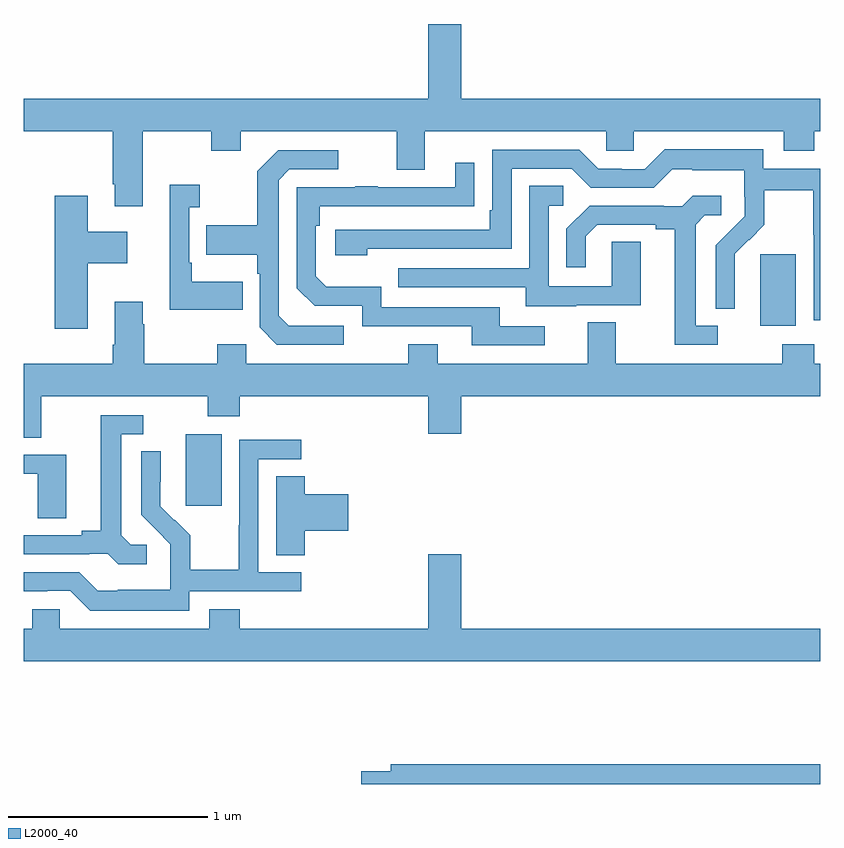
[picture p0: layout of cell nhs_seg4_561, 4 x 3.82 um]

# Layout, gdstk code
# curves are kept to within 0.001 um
import gdstk
lib = gdstk.Library(unit=1e-6, precision=1e-09)
def R(c, l, rs):  # rectangles x0, y0, x1, y1
    for r in rs: c.add(gdstk.rectangle(r[:2], r[2:], *l))
def P(c, l, *ps):  # polygons
    for p in ps: c.add(gdstk.Polygon(p, *l))
L2000_40 = (2000, 40)

nhs_seg4_561 = lib.new_cell('nhs_seg4_561')
R(nhs_seg4_561, L2000_40, [(139.814,768.297,139.993,768.658), (142.7,769.202,142.879,769.563)])
P(nhs_seg4_561, L2000_40, [(139.597,770.18),(139.942,770.18),(139.942,770.081),(140.089,770.081),(140.089,770.18),(140.873,770.18),(140.873,769.986),(141.013,769.986),(141.013,770.18),(141.927,770.18),(141.927,770.082),(142.065,770.082),(142.065,770.18),(142.817,770.18),(142.817,770.081),(142.97,770.081),(142.97,770.18),(143,770.18),(143,770.344),(141.196,770.344),(141.196,770.719),(141.032,770.719),(141.032,770.344),(139,770.344),(139,770.18),(139.445,770.18),(139.445,769.915),(139.457,769.915),(139.457,769.803),(139.597,769.803)],
  [(143,769.992),(142.716,769.992),(142.716,770.089),(142.219,770.089),(142.119,769.989),(142.004,769.989),(142.004,769.992),(141.885,769.992),(141.789,770.088),(141.354,770.088),(141.354,769.783),(141.341,769.783),(141.341,769.686),(140.565,769.686),(140.565,769.556),(140.726,769.556),(140.726,769.59),(141.45,769.59),(141.45,769.992),(141.753,769.992),(141.849,769.896),(142.164,769.896),(142.257,769.989),(142.357,769.989),(142.357,769.985),(142.62,769.985),(142.62,769.851),(142.622,769.851),(142.622,769.754),(142.476,769.606),(142.476,769.288),(142.572,769.288),(142.571,769.565),(142.641,769.635),(142.644,769.632),(142.721,769.709),(142.721,769.884),(142.966,769.884),(142.966,769.66),(142.968,769.66),(142.968,769.231),(143,769.231)],
  [(140.608,769.203),(140.331,769.203),(140.28,769.254),(140.28,769.935),(140.334,769.989),(140.578,769.989),(140.578,770.085),(140.277,770.085),(140.172,769.979),(140.172,769.707),(139.915,769.707),(139.915,769.559),(140.172,769.559),(140.172,769.463),(140.184,769.463),(140.184,769.194),(140.271,769.107),(140.608,769.107)],
  [(141.616,769.2),(141.391,769.2),(141.391,769.296),(140.796,769.296),(140.796,769.399),(140.519,769.399),(140.466,769.452),(140.466,769.706),(140.486,769.706),(140.486,769.803),(141.263,769.804),(141.263,770.023),(141.167,770.023),(141.167,769.899),(140.777,769.899),(140.777,769.904),(140.665,769.904),(140.665,769.899),(140.37,769.899),(140.37,769.392),(140.46,769.302),(140.7,769.302),(140.7,769.2),(141.251,769.2),(141.251,769.104),(141.616,769.104)],
  [(140.099,769.423),(139.843,769.423),(139.843,769.519),(139.83,769.519),(139.83,769.799),(139.882,769.799),(139.882,769.912),(139.733,769.912),(139.733,769.283),(140.099,769.283)],
  [(141.775,769.305),(142.099,769.305),(142.099,769.625),(141.954,769.625),(141.954,769.401),(141.636,769.401),(141.636,769.806),(141.709,769.806),(141.709,769.907),(141.54,769.907),(141.54,769.491),(140.881,769.491),(140.881,769.395),(141.521,769.395),(141.521,769.301),(141.775,769.301)],
  [(142.486,769.203),(142.375,769.203),(142.375,769.711),(142.422,769.758),(142.504,769.758),(142.504,769.855),(142.36,769.855),(142.308,769.803),(142.214,769.803),(142.214,769.806),(141.842,769.806),(141.726,769.69),(141.726,769.497),(141.823,769.497),(141.823,769.653),(141.88,769.71),(142.175,769.71),(142.175,769.688),(142.271,769.688),(142.271,769.107),(142.486,769.107)],
  [(139.321,769.517),(139.519,769.517),(139.519,769.675),(139.321,769.675),(139.321,769.855),(139.154,769.855),(139.154,769.188),(139.321,769.188)],
  [(139.087,768.848),(139.924,768.848),(139.924,768.749),(140.084,768.749),(140.084,768.848),(141.032,768.848),(141.032,768.66),(141.196,768.66),(141.196,768.848),(143,768.848),(143,769.012),(142.97,769.012),(142.97,769.111),(142.81,769.111),(142.81,769.012),(141.973,769.012),(141.973,769.22),(141.833,769.22),(141.833,769.012),(141.079,769.012),(141.079,769.111),(140.932,769.111),(140.932,769.012),(140.118,769.012),(140.118,769.111),(139.972,769.111),(139.972,769.012),(139.605,769.012),(139.605,769.211),(139.597,769.211),(139.597,769.324),(139.457,769.324),(139.457,769.108),(139.445,769.108),(139.445,769.012),(139,769.012),(139,768.64),(139.087,768.64)],
  [(139.618,768.102),(139.536,768.102),(139.489,768.149),(139.489,768.657),(139.6,768.657),(139.6,768.753),(139.385,768.753),(139.385,768.173),(139.289,768.173),(139.289,768.15),(139,768.15),(139,768.054),(139.328,768.054),(139.328,768.057),(139.422,768.057),(139.474,768.005),(139.618,768.005)],
  [(139.83,767.868),(140.392,767.868),(140.392,767.964),(140.178,767.964),(140.178,768.531),(140.392,768.531),(140.392,768.63),(140.082,768.63),(140.082,768.2),(140.08,768.2),(140.08,767.977),(139.835,767.977),(139.835,768.151),(139.758,768.228),(139.755,768.225),(139.685,768.296),(139.686,768.572),(139.59,768.572),(139.59,768.254),(139.736,768.106),(139.736,768.009),(139.734,768.009),(139.734,767.875),(139.471,767.875),(139.471,767.871),(139.371,767.871),(139.278,767.964),(139,767.964),(139,767.868),(139.118,767.868),(139.118,767.871),(139.233,767.871),(139.333,767.771),(139.83,767.771)],
  [(139.213,768.555),(139,768.555),(139,768.459),(139.068,768.459),(139.068,768.235),(139.213,768.235)],
  [(140.411,768.173),(140.629,768.173),(140.629,768.356),(140.411,768.356),(140.411,768.446),(140.267,768.446),(140.267,768.049),(140.411,768.049)],
  [(143,767.68),(141.196,767.68),(141.196,768.055),(141.032,768.055),(141.032,767.68),(140.084,767.68),(140.084,767.779),(139.931,767.779),(139.931,767.68),(139.179,767.68),(139.179,767.778),(139.041,767.778),(139.041,767.68),(139,767.68),(139,767.516),(143,767.516)],
  [(143,767),(140.843,767),(140.843,766.964),(140.694,766.964),(140.694,766.9),(143,766.9)])

lib.write_gds('nhs_seg4_561.gds')
